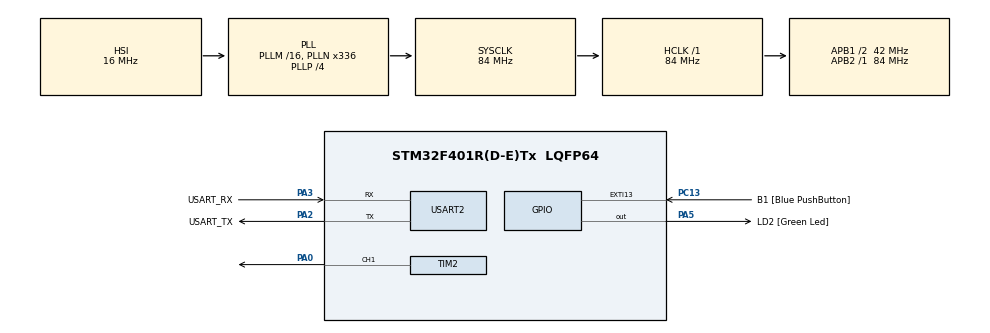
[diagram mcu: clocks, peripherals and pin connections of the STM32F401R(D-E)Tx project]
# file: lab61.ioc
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Dma.MEMTOMEM.0.Direction=DMA_MEMORY_TO_MEMORY
Dma.MEMTOMEM.0.FIFOMode=DMA_FIFOMODE_ENABLE
Dma.MEMTOMEM.0.FIFOThreshold=DMA_FIFO_THRESHOLD_FULL
Dma.MEMTOMEM.0.Instance=DMA2_Stream0
Dma.MEMTOMEM.0.MemBurst=DMA_MBURST_SINGLE
Dma.MEMTOMEM.0.MemDataAlignment=DMA_MDATAALIGN_BYTE
Dma.MEMTOMEM.0.MemInc=DMA_MINC_ENABLE
Dma.MEMTOMEM.0.Mode=DMA_NORMAL
Dma.MEMTOMEM.0.PeriphBurst=DMA_PBURST_SINGLE
Dma.MEMTOMEM.0.PeriphDataAlignment=DMA_PDATAALIGN_BYTE
Dma.MEMTOMEM.0.PeriphInc=DMA_PINC_ENABLE
Dma.MEMTOMEM.0.Priority=DMA_PRIORITY_LOW
Dma.Request0=MEMTOMEM
Dma.Request1=TIM2_CH1
Dma.TIM2_CH1.1.Direction=DMA_PERIPH_TO_MEMORY
Dma.TIM2_CH1.1.FIFOMode=DMA_FIFOMODE_DISABLE
Dma.TIM2_CH1.1.Instance=DMA1_Stream5
Dma.TIM2_CH1.1.MemDataAlignment=DMA_MDATAALIGN_WORD
Dma.TIM2_CH1.1.MemInc=DMA_MINC_ENABLE
Dma.TIM2_CH1.1.Mode=DMA_CIRCULAR
Dma.TIM2_CH1.1.PeriphDataAlignment=DMA_PDATAALIGN_WORD
Dma.TIM2_CH1.1.PeriphInc=DMA_PINC_DISABLE
Dma.TIM2_CH1.1.Priority=DMA_PRIORITY_LOW
Mcu.Family=STM32F4
Mcu.Name=STM32F401R(D-E)Tx
Mcu.Package=LQFP64
NVIC.DMA1_Stream5_IRQn=true\:0\:0\:false\:false\:true\:false\:true\:true
NVIC.PriorityGroup=NVIC_PRIORITYGROUP_4
PA0-WKUP.Signal=S_TIM2_CH1_ETR
PA13.GPIO_Label=TMS
PA13.Mode=Trace_Asynchronous_SW
PA13.Signal=SYS_JTMS-SWDIO
PA14.GPIO_Label=TCK
PA14.Mode=Trace_Asynchronous_SW
PA14.Signal=SYS_JTCK-SWCLK
PA2.GPIO_Label=USART_TX
PA2.GPIO_Mode=GPIO_MODE_AF_PP
PA2.GPIO_PuPd=GPIO_NOPULL
PA2.GPIO_Speed=GPIO_SPEED_FREQ_LOW
PA2.Mode=Asynchronous
PA2.Signal=USART2_TX
PA3.GPIO_Label=USART_RX
PA3.GPIO_Mode=GPIO_MODE_AF_PP
PA3.GPIO_PuPd=GPIO_NOPULL
PA3.GPIO_Speed=GPIO_SPEED_FREQ_LOW
PA3.Mode=Asynchronous
PA3.Signal=USART2_RX
PA5.GPIO_Label=LD2 [Green Led]
PA5.GPIO_Mode=GPIO_MODE_OUTPUT_PP
PA5.GPIO_PuPd=GPIO_NOPULL
PA5.GPIO_Speed=GPIO_SPEED_FREQ_LOW
PA5.Signal=GPIO_Output
PB3.GPIO_Label=SWO
PB3.Mode=Trace_Asynchronous_SW
PB3.Signal=SYS_JTDO-SWO
PC13-ANTI_TAMP.GPIO_Label=B1 [Blue PushButton]
PC13-ANTI_TAMP.GPIO_ModeDefaultEXTI=GPIO_MODE_IT_FALLING
PC13-ANTI_TAMP.GPIO_PuPd=GPIO_NOPULL
PC13-ANTI_TAMP.Signal=GPXTI13
PC14-OSC32_IN.Mode=LSE-External-Oscillator
PC14-OSC32_IN.Signal=RCC_OSC32_IN
PC15-OSC32_OUT.Mode=LSE-External-Oscillator
PC15-OSC32_OUT.Signal=RCC_OSC32_OUT
PH0\ -\ OSC_IN.Mode=HSE-External-Clock-Source
PH0\ -\ OSC_IN.Signal=RCC_OSC_IN
PH1\ -\ OSC_OUT.Mode=HSE-External-Clock-Source
PH1\ -\ OSC_OUT.Signal=RCC_OSC_OUT
ProjectManager.HeapSize=0x200
ProjectManager.StackSize=0x400
ProjectManager.TargetToolchain=STM32CubeIDE
RCC.48MHZClocksFreq_Value=48000000
RCC.AHBFreq_Value=84000000
RCC.APB1CLKDivider=RCC_HCLK_DIV2
RCC.APB1Freq_Value=42000000
RCC.APB1TimFreq_Value=84000000
RCC.APB2Freq_Value=84000000
RCC.APB2TimFreq_Value=84000000
RCC.CortexFreq_Value=84000000
RCC.HCLKFreq_Value=84000000
RCC.HSE_VALUE=8000000
RCC.HSI_VALUE=16000000
RCC.PLLN=336
RCC.PLLP=RCC_PLLP_DIV4
RCC.PLLQ=7
RCC.SYSCLKFreq_VALUE=84000000
RCC.SYSCLKSource=RCC_SYSCLKSOURCE_PLLCLK
RCC.VCOOutputFreq_Value=336000000
SH.S_TIM2_CH1_ETR.0=TIM2_CH1,PWM Generation1 CH1
TIM2.Channel-PWM\ Generation1\ CH1=TIM_CHANNEL_1
USART2.VirtualMode=VM_ASYNC
board=NUCLEO-F401RE

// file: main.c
/* USER CODE BEGIN Header */
/**
  ******************************************************************************
  * @file           : main.c
  * @brief          : Main program body - DMA Lab (Mem2Mem, PWM, RGB logic)
  ******************************************************************************
  * @attention
  *
  * Copyright (c) 2026 STMicroelectronics.
  * All rights reserved.
  *
  ******************************************************************************
  */
/* USER CODE END Header */
#include "main.h"

/* USER CODE BEGIN Includes */
#include <string.h>
#include <stdio.h>
/* USER CODE END Includes */

TIM_HandleTypeDef htim2;
DMA_HandleTypeDef hdma_tim2_ch1;

UART_HandleTypeDef huart2;

DMA_HandleTypeDef hdma_memtomem_dma2_stream0;
/* USER CODE BEGIN PV */
// --- ZMIENNE DO ZADANIA 1 (Mem2Mem) ---
#define BUFFER_SIZE 32
const uint8_t srcBuffer[BUFFER_SIZE] = "Test DMA Mem2Mem - F401RE\r\n";
uint8_t dstBuffer[BUFFER_SIZE];
volatile uint8_t transferComplete = 0;

// --- ZMIENNE DO ZADANIA 2 (PWM Breathing LED) ---
#define PWM_STEPS 100
uint32_t pwm_breathing_data[PWM_STEPS * 2]; // Tablica na wartości wypełnienia

// --- ZMIENNE DO ZADANIA 3 (RGB WS2812B Logic) ---
// Symulacja bufora dla 1 diody LED (24 bity: G, R, B) + Reset
#define LED_COUNT 1
#define RESET_SLOTS 50
uint32_t rgb_dma_buffer[LED_COUNT * 24 + RESET_SLOTS];

// Wartości PWM odpowiadające '0' i '1' dla WS2812B przy ARR=104 (84MHz)
#define WS2812_0 32
#define WS2812_1 68
/* USER CODE END PV */

void SystemClock_Config(void);
static void MX_GPIO_Init(void);
static void MX_DMA_Init(void);
static void MX_USART2_UART_Init(void);
static void MX_TIM2_Init(void);
/* USER CODE BEGIN PFP */
void TransferCompleteCallback(DMA_HandleTypeDef *hdma);
void PrepareBreathingData(void);
void Set_LED_Color(uint8_t Green, uint8_t Red, uint8_t Blue);
/* USER CODE END PFP */

/* USER CODE BEGIN 0 */
// Callback po zakończeniu transferu Mem2Mem
void TransferCompleteCallback(DMA_HandleTypeDef *hdma) {
    transferComplete = 1;
}

// Funkcja przygotowująca dane dla "oddychania" diody
void PrepareBreathingData(void) {
    for (int i = 0; i < PWM_STEPS; i++) {
        // Liniowe narastanie
        pwm_breathing_data[i] = i * (1000 / PWM_STEPS);
        // Liniowe opadanie
        pwm_breathing_data[PWM_STEPS + i] = 1000 - (i * (1000 / PWM_STEPS));
    }
}

// Funkcja ustawiająca kolor diody (logika RGB do bufora DMA)
void Set_LED_Color(uint8_t Green, uint8_t Red, uint8_t Blue) {
    uint32_t color = (Green << 16) | (Red << 8) | Blue;

    for (int i = 0; i < 24; i++) {
        if (color & (1 << (23 - i))) {
            rgb_dma_buffer[i] = WS2812_1;
        } else {
            rgb_dma_buffer[i] = WS2812_0;
        }
    }
    // Reszta bufora to zera (sygnał RESET dla paska LED)
    for (int i = 24; i < (LED_COUNT * 24 + RESET_SLOTS); i++) {
        rgb_dma_buffer[i] = 0;
    }
}
/* USER CODE END 0 */

int main(void)
{

  /* MCU Configuration--------------------------------------------------------*/

  /* Reset of all peripherals, Initializes the Flash interface and the Systick. */
  HAL_Init();

  /* Configure the system clock */
  SystemClock_Config();

  /* Initialize all configured peripherals */
  MX_GPIO_Init();
  MX_DMA_Init();
  MX_USART2_UART_Init();
  MX_TIM2_Init();
  /* USER CODE BEGIN 2 */

  // ==========================================
  // ZADANIE 1: MEMORY TO MEMORY DMA TRANSFER
  // ==========================================
  char msg[64];
  sprintf(msg, "\r\nStart DMA Mem2Mem...\r\n");
  HAL_UART_Transmit(&huart2, (uint8_t*)msg, strlen(msg), 100);

  // Rejestracja callbacka (funkcja wywoływana po zakończeniu transferu)
  HAL_DMA_RegisterCallback(&hdma_memtomem_dma2_stream0, HAL_DMA_XFER_CPLT_CB_ID, TransferCompleteCallback);

  // Start DMA (z src do dst)
  // UWAGA: W F401RE Mem2Mem musi być na DMA2
  if (HAL_DMA_Start_IT(&hdma_memtomem_dma2_stream0, (uint32_t)srcBuffer, (uint32_t)dstBuffer, BUFFER_SIZE) != HAL_OK) {
      Error_Handler();
  }

  // Czekanie na flagę (w prawdziwym zastosowaniu CPU robiłby tu co innego)
  while (transferComplete == 0) {
      // Symulacja pracy CPU
      __NOP();
  }

  // Weryfikacja
  if (strcmp((char*)srcBuffer, (char*)dstBuffer) == 0) {
      sprintf(msg, "Sukces Mem2Mem: %s", dstBuffer);
  } else {
      sprintf(msg, "Blad transferu DMA!\r\n");
  }
  HAL_UART_Transmit(&huart2, (uint8_t*)msg, strlen(msg), 100);

  // ==========================================
  // ZADANIE 2: PWM + DMA (Breathing LED PA5)
  // ==========================================
  // Ręczna korekta ustawień Timera 2, aby uzyskać 1kHz PWM przy zegarze 84MHz
  // Domyślny CubeMX init ustawił Prescaler=0 i Period=MAX, co jest złe dla LED.
  // Ustawiamy: Prescaler = 83 (Zegar Timera = 1MHz), Period = 999 (PWM = 1kHz)
  __HAL_TIM_SET_PRESCALER(&htim2, 83);
  __HAL_TIM_SET_AUTORELOAD(&htim2, 999);

  PrepareBreathingData();

  // Uruchomienie PWM z DMA w trybie CIRCULAR (pętla nieskończona)
  // TIM2 CH1 steruje pinem PA5 (Dioda LD2 na Nucleo)
  if(HAL_TIM_PWM_Start_DMA(&htim2, TIM_CHANNEL_1, (uint32_t*)pwm_breathing_data, PWM_STEPS * 2) != HAL_OK)
  {
	  Error_Handler();
  }

  sprintf(msg, "PWM DMA Started on PA5 (LD2)...\r\n");
  HAL_UART_Transmit(&huart2, (uint8_t*)msg, strlen(msg), 100);

  // ==========================================
  // ZADANIE 3: PROPOZYCJA RGB (Logika)
  // ==========================================
  // Tylko przygotowanie danych (aby zobaczyć w Debuggerze w tablicy rgb_dma_buffer)
  Set_LED_Color(255, 0, 0); // Zielony

  /* USER CODE END 2 */

  /* Infinite loop */
  /* USER CODE BEGIN WHILE */
  while (1)
  {
    // CPU jest wolne! Dioda mruga sama dzięki DMA.
    // Możemy np. wysyłać logi co 2s
    HAL_Delay(2000);
    HAL_UART_Transmit(&huart2, (uint8_t*)"CPU is idle, DMA controls LED...\r\n", 34, 100);

    /* USER CODE END WHILE */

  }
}

void SystemClock_Config(void)
{
  RCC_OscInitTypeDef RCC_OscInitStruct = {0};
  RCC_ClkInitTypeDef RCC_ClkInitStruct = {0};

  /** Configure the main internal regulator output voltage
  */
  __HAL_RCC_PWR_CLK_ENABLE();
  __HAL_PWR_VOLTAGESCALING_CONFIG(PWR_REGULATOR_VOLTAGE_SCALE2);

  /** Initializes the RCC Oscillators according to the specified parameters
  * in the RCC_OscInitTypeDef structure.
  */
  RCC_OscInitStruct.OscillatorType = RCC_OSCILLATORTYPE_HSI;
  RCC_OscInitStruct.HSIState = RCC_HSI_ON;
  RCC_OscInitStruct.HSICalibrationValue = RCC_HSICALIBRATION_DEFAULT;
  RCC_OscInitStruct.PLL.PLLState = RCC_PLL_ON;
  RCC_OscInitStruct.PLL.PLLSource = RCC_PLLSOURCE_HSI;
  RCC_OscInitStruct.PLL.PLLM = 16;
  RCC_OscInitStruct.PLL.PLLN = 336;
  RCC_OscInitStruct.PLL.PLLP = RCC_PLLP_DIV4;
  RCC_OscInitStruct.PLL.PLLQ = 7;
  if (HAL_RCC_OscConfig(&RCC_OscInitStruct) != HAL_OK)
  {
    Error_Handler();
  }

  /** Initializes the CPU, AHB and APB buses clocks
  */
  RCC_ClkInitStruct.ClockType = RCC_CLOCKTYPE_HCLK|RCC_CLOCKTYPE_SYSCLK
                              |RCC_CLOCKTYPE_PCLK1|RCC_CLOCKTYPE_PCLK2;
  RCC_ClkInitStruct.SYSCLKSource = RCC_SYSCLKSOURCE_PLLCLK;
  RCC_ClkInitStruct.AHBCLKDivider = RCC_SYSCLK_DIV1;
  RCC_ClkInitStruct.APB1CLKDivider = RCC_HCLK_DIV2;
  RCC_ClkInitStruct.APB2CLKDivider = RCC_HCLK_DIV1;

  if (HAL_RCC_ClockConfig(&RCC_ClkInitStruct, FLASH_LATENCY_2) != HAL_OK)
  {
    Error_Handler();
  }
}

static void MX_TIM2_Init(void)
{

  TIM_MasterConfigTypeDef sMasterConfig = {0};
  TIM_OC_InitTypeDef sConfigOC = {0};

  htim2.Instance = TIM2;
  htim2.Init.Prescaler = 0;
  htim2.Init.CounterMode = TIM_COUNTERMODE_UP;
  htim2.Init.Period = 4294967295;
  htim2.Init.ClockDivision = TIM_CLOCKDIVISION_DIV1;
  htim2.Init.AutoReloadPreload = TIM_AUTORELOAD_PRELOAD_DISABLE;
  if (HAL_TIM_PWM_Init(&htim2) != HAL_OK)
  {
    Error_Handler();
  }
  sMasterConfig.MasterOutputTrigger = TIM_TRGO_RESET;
  sMasterConfig.MasterSlaveMode = TIM_MASTERSLAVEMODE_DISABLE;
  if (HAL_TIMEx_MasterConfigSynchronization(&htim2, &sMasterConfig) != HAL_OK)
  {
    Error_Handler();
  }
  sConfigOC.OCMode = TIM_OCMODE_PWM1;
  sConfigOC.Pulse = 0;
  sConfigOC.OCPolarity = TIM_OCPOLARITY_HIGH;
  sConfigOC.OCFastMode = TIM_OCFAST_DISABLE;
  if (HAL_TIM_PWM_ConfigChannel(&htim2, &sConfigOC, TIM_CHANNEL_1) != HAL_OK)
  {
    Error_Handler();
  }
  HAL_TIM_MspPostInit(&htim2);

}

static void MX_USART2_UART_Init(void)
{

  huart2.Instance = USART2;
  huart2.Init.BaudRate = 115200;
  huart2.Init.WordLength = UART_WORDLENGTH_8B;
  huart2.Init.StopBits = UART_STOPBITS_1;
  huart2.Init.Parity = UART_PARITY_NONE;
  huart2.Init.Mode = UART_MODE_TX_RX;
  huart2.Init.HwFlowCtl = UART_HWCONTROL_NONE;
  huart2.Init.OverSampling = UART_OVERSAMPLING_16;
  if (HAL_UART_Init(&huart2) != HAL_OK)
  {
    Error_Handler();
  }

}

static void MX_DMA_Init(void)
{

  /* DMA controller clock enable */
  __HAL_RCC_DMA2_CLK_ENABLE();
  __HAL_RCC_DMA1_CLK_ENABLE();

  /* Configure DMA request hdma_memtomem_dma2_stream0 on DMA2_Stream0 */
  hdma_memtomem_dma2_stream0.Instance = DMA2_Stream0;
  hdma_memtomem_dma2_stream0.Init.Channel = DMA_CHANNEL_0;
  hdma_memtomem_dma2_stream0.Init.Direction = DMA_MEMORY_TO_MEMORY;
  hdma_memtomem_dma2_stream0.Init.PeriphInc = DMA_PINC_ENABLE;
  hdma_memtomem_dma2_stream0.Init.MemInc = DMA_MINC_ENABLE;
  hdma_memtomem_dma2_stream0.Init.PeriphDataAlignment = DMA_PDATAALIGN_BYTE;
  hdma_memtomem_dma2_stream0.Init.MemDataAlignment = DMA_MDATAALIGN_BYTE;
  hdma_memtomem_dma2_stream0.Init.Mode = DMA_NORMAL;
  hdma_memtomem_dma2_stream0.Init.Priority = DMA_PRIORITY_LOW;
  hdma_memtomem_dma2_stream0.Init.FIFOMode = DMA_FIFOMODE_ENABLE;
  hdma_memtomem_dma2_stream0.Init.FIFOThreshold = DMA_FIFO_THRESHOLD_FULL;
  hdma_memtomem_dma2_stream0.Init.MemBurst = DMA_MBURST_SINGLE;
  hdma_memtomem_dma2_stream0.Init.PeriphBurst = DMA_PBURST_SINGLE;
  if (HAL_DMA_Init(&hdma_memtomem_dma2_stream0) != HAL_OK)
  {
    Error_Handler( );
  }

  /* DMA interrupt init */
  /* DMA1_Stream5_IRQn interrupt configuration */
  HAL_NVIC_SetPriority(DMA1_Stream5_IRQn, 0, 0);
  HAL_NVIC_EnableIRQ(DMA1_Stream5_IRQn);
  /* DMA2_Stream0_IRQn interrupt configuration (DODANE DLA MEM2MEM) */
  HAL_NVIC_SetPriority(DMA2_Stream0_IRQn, 0, 0);
  HAL_NVIC_EnableIRQ(DMA2_Stream0_IRQn);

}

static void MX_GPIO_Init(void)
{
  GPIO_InitTypeDef GPIO_InitStruct = {0};

  /* GPIO Ports Clock Enable */
  __HAL_RCC_GPIOC_CLK_ENABLE();
  __HAL_RCC_GPIOH_CLK_ENABLE();
  __HAL_RCC_GPIOA_CLK_ENABLE();
  __HAL_RCC_GPIOB_CLK_ENABLE();

  /*Configure GPIO pin Output Level */
  HAL_GPIO_WritePin(LD2_GPIO_Port, LD2_Pin, GPIO_PIN_RESET);

  /*Configure GPIO pin : B1_Pin */
  GPIO_InitStruct.Pin = B1_Pin;
  GPIO_InitStruct.Mode = GPIO_MODE_IT_FALLING;
  GPIO_InitStruct.Pull = GPIO_NOPULL;
  HAL_GPIO_Init(B1_GPIO_Port, &GPIO_InitStruct);

  /*Configure GPIO pin : LD2_Pin */
  GPIO_InitStruct.Pin = LD2_Pin;
  GPIO_InitStruct.Mode = GPIO_MODE_OUTPUT_PP;
  GPIO_InitStruct.Pull = GPIO_NOPULL;
  GPIO_InitStruct.Speed = GPIO_SPEED_FREQ_LOW;
  HAL_GPIO_Init(LD2_GPIO_Port, &GPIO_InitStruct);

}

void Error_Handler(void)
{
  __disable_irq();
  while (1)
  {
  }
}
